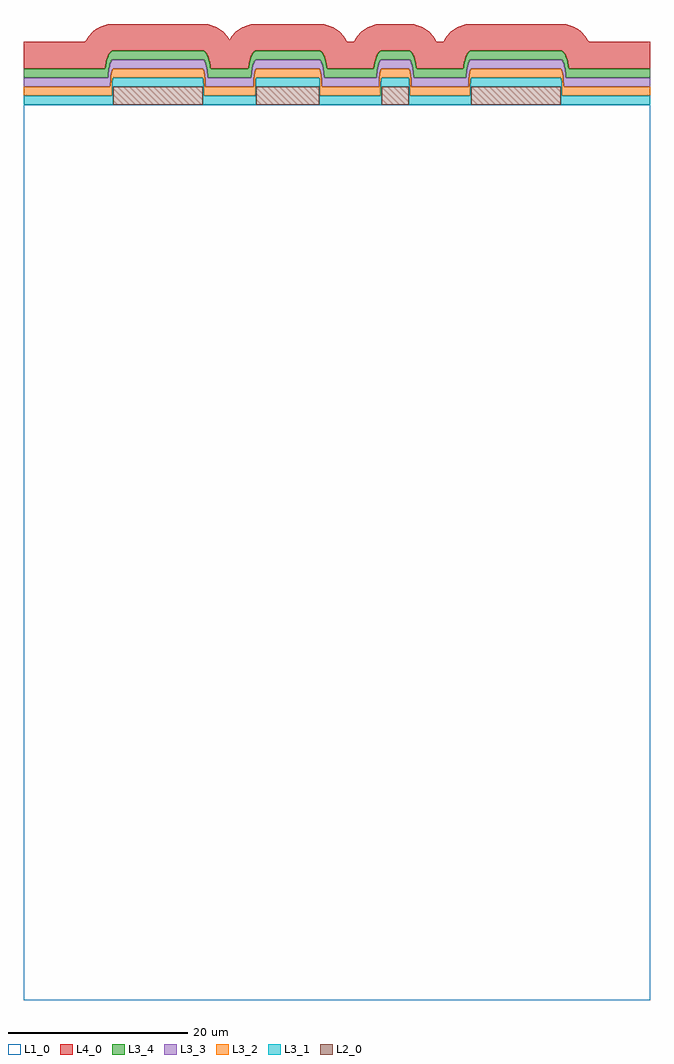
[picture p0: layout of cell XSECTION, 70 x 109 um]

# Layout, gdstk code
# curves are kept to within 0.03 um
import gdstk
lib = gdstk.Library(unit=1e-6, precision=1e-09)
def R(c, l, rs):  # rectangles x0, y0, x1, y1
    for r in rs: c.add(gdstk.rectangle(r[:2], r[2:], *l))
def P(c, l, *ps):  # polygons
    for p in ps: c.add(gdstk.Polygon(p, *l))
L1_0 = (1, 0)
L2_0 = (2, 0)
L3_1 = (3, 1)
L3_2 = (3, 2)
L3_3 = (3, 3)
L3_4 = (3, 4)
L4_0 = (4, 0)

xsection = lib.new_cell('XSECTION')
R(xsection, L1_0, [(0,-100,70,0)])
R(xsection, L2_0, [(10,0,20,2), (26,0,33,2), (40,0,43,2), (50,0,60,2)])
P(xsection, L3_1, [(0,0),(0,1),(9.9,1),(9.911,2.474),(9.99,3),(20.01,3),(20.089,2.474),(20.1,1),(25.9,1),(25.911,2.474),(25.99,3),(33.01,3),(33.089,2.474),(33.1,1),(39.9,1),(39.911,2.474),(39.99,3),(43.01,3),(43.089,2.474),(43.1,1),(49.9,1),(49.911,2.474),(49.99,3),(60.01,3),(60.089,2.474),(60.1,1),(70,1),(70,0),(60,0),(60,2),(50,2),(50,0),(43,0),(43,2),(40,2),(40,0),(33,0),(33,2),(26,2),(26,0),(20,0),(20,2),(10,2),(10,0)])
P(xsection, L3_2, [(0,1),(0,2),(9.7,2),(9.781,3.414),(9.876,3.848),(9.97,4),(20.03,4),(20.124,3.848),(20.219,3.414),(20.3,2),(25.7,2),(25.781,3.414),(25.876,3.848),(25.97,4),(33.03,4),(33.124,3.848),(33.219,3.414),(33.3,2),(39.7,2),(39.781,3.414),(39.876,3.848),(39.97,4),(43.03,4),(43.124,3.848),(43.219,3.414),(43.3,2),(49.7,2),(49.781,3.414),(49.876,3.848),(49.97,4),(60.03,4),(60.124,3.848),(60.219,3.414),(60.3,2),(70,2),(70,1),(60.1,1),(60.089,2.474),(60.01,3),(49.99,3),(49.911,2.474),(49.9,1),(43.1,1),(43.089,2.474),(43.01,3),(39.99,3),(39.911,2.474),(39.9,1),(33.1,1),(33.089,2.474),(33.01,3),(25.99,3),(25.911,2.474),(25.9,1),(20.1,1),(20.089,2.474),(20.01,3),(9.99,3),(9.911,2.474),(9.9,1)])
P(xsection, L3_3, [(0,2),(0,3),(9.427,3),(9.493,3.725),(9.611,4.376),(9.79,4.848),(9.94,5),(20.06,5),(20.21,4.848),(20.389,4.376),(20.507,3.725),(20.573,3),(25.427,3),(25.493,3.725),(25.611,4.376),(25.79,4.848),(25.94,5),(33.06,5),(33.21,4.848),(33.389,4.376),(33.507,3.725),(33.573,3),(39.427,3),(39.493,3.725),(39.611,4.376),(39.79,4.848),(39.94,5),(43.06,5),(43.21,4.848),(43.389,4.376),(43.507,3.725),(43.573,3),(49.427,3),(49.493,3.725),(49.611,4.376),(49.79,4.848),(49.94,5),(60.06,5),(60.21,4.848),(60.389,4.376),(60.507,3.725),(60.573,3),(70,3),(70,2),(60.3,2),(60.219,3.414),(60.124,3.848),(60.03,4),(49.97,4),(49.876,3.848),(49.781,3.414),(49.7,2),(43.3,2),(43.219,3.414),(43.124,3.848),(43.03,4),(39.97,4),(39.876,3.848),(39.781,3.414),(39.7,2),(33.3,2),(33.219,3.414),(33.124,3.848),(33.03,4),(25.97,4),(25.876,3.848),(25.781,3.414),(25.7,2),(20.3,2),(20.219,3.414),(20.124,3.848),(20.03,4),(9.97,4),(9.876,3.848),(9.781,3.414),(9.7,2)])
P(xsection, L3_4, [(0,3),(0,4),(9.106,4),(9.239,4.774),(9.374,5.262),(9.655,5.81),(9.901,6),(20.099,6),(20.345,5.81),(20.626,5.262),(20.761,4.774),(20.894,4),(25.106,4),(25.239,4.774),(25.374,5.262),(25.655,5.81),(25.901,6),(33.099,6),(33.345,5.81),(33.626,5.262),(33.761,4.774),(33.894,4),(39.106,4),(39.239,4.774),(39.374,5.262),(39.655,5.81),(39.901,6),(43.099,6),(43.177,5.962),(43.399,5.734),(43.626,5.262),(43.761,4.774),(43.894,4),(49.106,4),(49.239,4.774),(49.374,5.262),(49.655,5.81),(49.901,6),(60.099,6),(60.345,5.81),(60.626,5.262),(60.761,4.774),(60.894,4),(70,4),(70,3),(60.573,3),(60.507,3.725),(60.389,4.376),(60.21,4.848),(60.06,5),(49.94,5),(49.79,4.848),(49.611,4.376),(49.493,3.725),(49.427,3),(43.573,3),(43.507,3.725),(43.389,4.376),(43.21,4.848),(43.06,5),(39.94,5),(39.79,4.848),(39.611,4.376),(39.493,3.725),(39.427,3),(33.573,3),(33.507,3.725),(33.389,4.376),(33.21,4.848),(33.06,5),(25.94,5),(25.79,4.848),(25.611,4.376),(25.493,3.725),(25.427,3),(20.573,3),(20.507,3.725),(20.389,4.376),(20.21,4.848),(20.06,5),(9.94,5),(9.79,4.848),(9.611,4.376),(9.493,3.725),(9.427,3)])
P(xsection, L4_0, [(0,4),(0,7),(6.867,7),(7.15,7.473),(7.415,7.812),(8.026,8.375),(8.751,8.776),(9.069,8.887),(9.733,9),(20.267,9),(20.602,8.962),(21.249,8.776),(21.974,8.375),(22.585,7.812),(22.995,7.241),(23.415,7.812),(24.026,8.375),(24.751,8.776),(25.398,8.962),(25.733,9),(33.267,9),(33.931,8.887),(34.249,8.776),(34.974,8.375),(35.585,7.812),(35.85,7.473),(36.133,7),(36.867,7),(37.15,7.473),(37.415,7.812),(38.026,8.375),(38.751,8.776),(39.069,8.887),(39.733,9),(43.267,9),(43.931,8.887),(44.63,8.592),(45.237,8.164),(45.796,7.549),(46.133,7),(46.867,7),(47.15,7.473),(47.415,7.812),(48.026,8.375),(48.751,8.776),(49.398,8.962),(49.733,9),(60.267,9),(60.931,8.887),(61.249,8.776),(61.974,8.375),(62.585,7.812),(62.85,7.473),(63.133,7),(70,7),(70,4),(60.894,4),(60.761,4.774),(60.626,5.262),(60.345,5.81),(60.099,6),(49.901,6),(49.655,5.81),(49.374,5.262),(49.239,4.774),(49.106,4),(43.894,4),(43.761,4.774),(43.626,5.262),(43.345,5.81),(43.099,6),(39.901,6),(39.823,5.962),(39.601,5.734),(39.374,5.262),(39.239,4.774),(39.106,4),(33.894,4),(33.761,4.774),(33.626,5.262),(33.345,5.81),(33.099,6),(25.901,6),(25.655,5.81),(25.374,5.262),(25.239,4.774),(25.106,4),(20.894,4),(20.761,4.774),(20.626,5.262),(20.345,5.81),(20.099,6),(9.901,6),(9.655,5.81),(9.374,5.262),(9.239,4.774),(9.106,4)])

lib.write_gds('XSECTION.gds')
